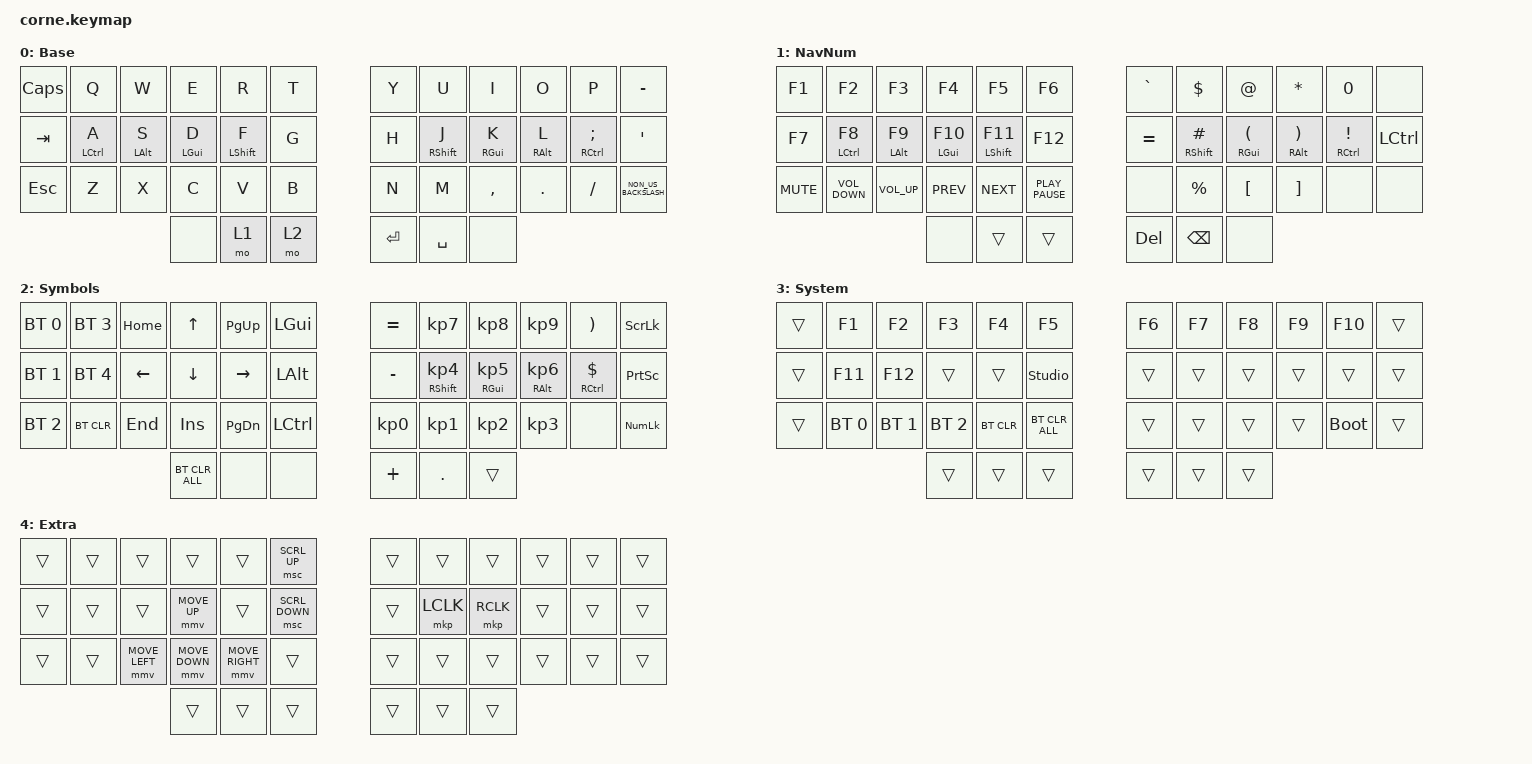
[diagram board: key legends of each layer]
#include <behaviors.dtsi>
#include <dt-bindings/zmk/bt.h>
#include <dt-bindings/zmk/keys.h>
#include <dt-bindings/zmk/pointing.h>

#define DEF 0
#define NAV 1
#define SYM 2
#define ADJ 3
#define EXTRA 4

/ {
    behaviors {
        hm: homerow_mods {
            compatible = "zmk,behavior-hold-tap";
            #binding-cells = <2>;
            tapping-term-ms = <200>;
            flavor = "tap-preferred";
            bindings = <&kp>, <&kp>;

            quick-tap-ms = <180>;
            require-prior-idle-ms = <120>; /* tune to taste */
        };

        para: para {
            compatible = "zmk,behavior-tap-dance";
            #binding-cells = <0>;
            bindings = <&kp LEFT_PARENTHESIS>, <&kp RIGHT_PARENTHESIS>;
        };

        caps: caps {
            compatible = "zmk,behavior-caps-word";
            #binding-cells = <0>;
            continue-list = <MINUS BACKSPACE>;
        };

        paraless: paraless {
            compatible = "zmk,behavior-mod-morph";
            bindings = <&kp LEFT_PARENTHESIS>, <&kp LESS_THAN>;

            #binding-cells = <0>;
            mods = <(MOD_LSFT)>;
        };

        paragreat: paragreat {
            compatible = "zmk,behavior-mod-morph";
            bindings = <&kp RIGHT_PARENTHESIS>, <&kp GREATER_THAN>;

            #binding-cells = <0>;
            mods = <(MOD_LSFT)>;
        };
    };

    macros {
        browsertab: browsertab {
            compatible = "zmk,behavior-macro";
            #binding-cells = <0>;
            bindings =
                <&macro_press>,
                <&kp LCTRL>,
                <&macro_tap>,
                <&kp TAB>,
                <&macro_release>,
                <&kp LCTRL>;
        };
    };

    combos {
        compatible = "zmk,combos";

        escape {
            bindings = <&kp ESCAPE>;
            key-positions = <13 29>;
        };

        delete {
            bindings = <&kp DELETE>;
            key-positions = <15 21>;
        };

        perc {
            bindings = <&kp PERCENT>;
            key-positions = <5 17>;
            layers = <0>;
        };

        equal {
            bindings = <&kp EQUAL>;
            key-positions = <28 16>;
            layers = <0>;
        };

        dollar {
            bindings = <&kp DOLLAR>;
            key-positions = <4 16>;
            layers = <0>;
        };

        pound {
            bindings = <&kp POUND>;
            key-positions = <3 15>;
            layers = <0>;
        };

        at {
            bindings = <&kp AT>;
            key-positions = <2 14>;
            layers = <0>;
        };

        backslash {
            bindings = <&kp BACKSLASH>;
            key-positions = <26 14>;
            layers = <0>;
        };

        star {
            bindings = <&kp STAR>;
            key-positions = <8 20>;
            layers = <0>;
        };

        slash {
            bindings = <&kp SLASH>;
            key-positions = <32 20>;
            layers = <0>;
        };

        plus {
            bindings = <&kp PLUS>;
            key-positions = <7 19>;
            layers = <0>;
        };

        minus {
            bindings = <&kp KP_MINUS>;
            key-positions = <31 19>;
            layers = <0>;
        };

        underscore {
            bindings = <&kp UNDER>;
            key-positions = <30 18>;
            layers = <0>;
        };

        leftbrack {
            bindings = <&kp LEFT_BRACKET>;
            key-positions = <31 32>;
            layers = <0>;
        };

        rightbrack {
            bindings = <&kp RIGHT_BRACKET>;
            key-positions = <33 32>;
            layers = <0>;
        };

        para-less {
            bindings = <&paraless>;
            key-positions = <20 19>;
            layers = <0>;
        };

        para-great {
            bindings = <&paragreat>;
            key-positions = <20 21>;
            layers = <0>;
        };
    };

    //

    keymap {
        compatible = "zmk,keymap";

        DEF {
            display-name = "Base";

            // -----------------------------------------------------------------------------------------
            // |  Q  |  W  |  E  |  R  |  T  |   |  Y  |  U   |  I  |  O  |  P  |
            // |  A  |  S  |  D  |  F  |  G  |   |  H  |  J   |  K  |  L  |  ;  |
            // |  Z  |  X  |  C  |  V  |  B  |   |  N  |  M   |  ,  |  .  |  /  |
            // | GUI | CTRL | SHFT | LWR | SPC |   | ENT | RSE  | BKSP | ALT | ESC |

            bindings = <
&kp CAPSLOCK  &kp Q               &kp W           &kp E           &kp R             &kp T    &kp Y    &kp U              &kp I            &kp O            &kp P                        &kp MINUS
&kp TAB       &hm LEFT_CONTROL A  &hm LEFT_ALT S  &hm LEFT_GUI D  &hm LEFT_SHIFT F  &kp G    &kp H    &hm RIGHT_SHIFT J  &hm RIGHT_GUI K  &hm RIGHT_ALT L  &hm RIGHT_CONTROL SEMICOLON  &kp SQT
&kp ESCAPE    &kp Z               &kp X           &kp C           &kp V             &kp B    &kp N    &kp M              &kp COMMA        &kp DOT          &kp FSLH                     &kp NON_US_BACKSLASH
                                                  &none           &mo 1             &mo 2    &kp RET  &kp SPACE          &none
            >;
        };

        NAV {
            display-name = "NavNum";

            // -----------------------------------------------------------------------------------------
            // |  TAB |  1  |  2  |  3  |  4  |  5  |   |  6  |  7  |  8  |  9  |  0  | BKSP |
            // | BTCLR| BT1 | BT2 | BT3 | BT4 | BT5 |   | LFT | DWN |  UP | RGT |     |      |
            // | SHFT |     |     |     |     |     |   |     |     |     |     |     |      |
            // | GUI | CTRL | SHFT | LWR | SPC |   | ENT | RSE  | BKSP | ALT | ESC |

            bindings = <
&kp F1      &kp F2               &kp F3           &kp F4            &kp F5              &kp F6              &kp GRAVE   &kp DOLLAR            &kp AT_SIGN                     &kp ASTERISK                     &kp N0                         &none
&kp F7      &hm LEFT_CONTROL F8  &hm LEFT_ALT F9  &hm LEFT_GUI F10  &hm LEFT_SHIFT F11  &kp F12             &kp EQUAL   &hm RIGHT_SHIFT HASH  &hm RIGHT_GUI LEFT_PARENTHESIS  &hm RIGHT_ALT RIGHT_PARENTHESIS  &hm RIGHT_CONTROL EXCLAMATION  &kp LCTRL
&kp K_MUTE  &kp C_VOLUME_DOWN    &kp C_VOLUME_UP  &kp K_PREV        &kp K_NEXT          &kp K_PLAY_PAUSE    &none       &kp PERCENT           &kp LEFT_BRACKET                &kp RIGHT_BRACKET                &none                          &none
                                                  &none             &trans              &trans              &kp DELETE  &kp BACKSPACE         &none
            >;
        };

        SYM {
            display-name = "Symbols";

            // -----------------------------------------------------------------------------------------
            // |  TAB |  !  |  @  |  #  |  $  |  %  |   |  ^  |  &  |  *  |  (  |  )  | BKSP |
            // | CTRL |     |     |     |     |     |   |  -  |  =  |  [  |  ]  |  \  |  `   |
            // | SHFT |     |     |     |     |     |   |  _  |  +  |  {  |  }  | "|" |  ~   |
            //                    | GUI |     | SPC |   | ENT |     | ALT |

            bindings = <
&bt BT_SEL 0  &bt BT_SEL 3  &kp HOME        &kp UP_ARROW    &kp PAGE_UP      &kp LEFT_GUI        &kp EQUAL        &kp KP_NUMBER_7              &kp KP_NUMBER_8            &kp KP_NUMBER_9            &kp RPAR                  &kp SCROLLLOCK
&bt BT_SEL 1  &bt BT_SEL 4  &kp LEFT_ARROW  &kp DOWN_ARROW  &kp RIGHT_ARROW  &kp LEFT_ALT        &kp MINUS        &hm RIGHT_SHIFT KP_NUMBER_4  &hm RIGHT_GUI KP_NUMBER_5  &hm RIGHT_ALT KP_NUMBER_6  &hm RIGHT_CONTROL DOLLAR  &kp PRINTSCREEN
&bt BT_SEL 2  &bt BT_CLR    &kp END         &kp INSERT      &kp PAGE_DOWN    &kp LEFT_CONTROL    &kp KP_NUMBER_0  &kp KP_NUMBER_1              &kp KP_NUMBER_2            &kp KP_NUMBER_3            &none                     &kp KP_NUMLOCK
                                            &bt BT_CLR_ALL  &none            &none               &kp PLUS         &kp PERIOD                   &trans
            >;
        };

        ADJ {
            display-name = "System";
            bindings = <
&trans  &kp F1        &kp F2        &kp F3        &kp F4      &kp F5            &kp F6  &kp F7  &kp F8  &kp F9  &kp F10      &trans
&trans  &kp F11       &kp F12       &trans        &trans      &studio_unlock    &trans  &trans  &trans  &trans  &trans       &trans
&trans  &bt BT_SEL 0  &bt BT_SEL 1  &bt BT_SEL 2  &bt BT_CLR  &bt BT_CLR_ALL    &trans  &trans  &trans  &trans  &bootloader  &trans
                                    &trans        &trans      &trans            &trans  &trans  &trans
            >;
        };

        EXTRA {
            display-name = "Extra";
            bindings = <
&trans  &trans  &trans          &trans          &trans           &msc SCRL_UP      &trans  &trans     &trans     &trans  &trans  &trans
&trans  &trans  &trans          &mmv MOVE_UP    &trans           &msc SCRL_DOWN    &trans  &mkp LCLK  &mkp RCLK  &trans  &trans  &trans
&trans  &trans  &mmv MOVE_LEFT  &mmv MOVE_DOWN  &mmv MOVE_RIGHT  &trans            &trans  &trans     &trans     &trans  &trans  &trans
                                &trans          &trans           &trans            &trans  &trans     &trans
            >;
        };
    };
};
